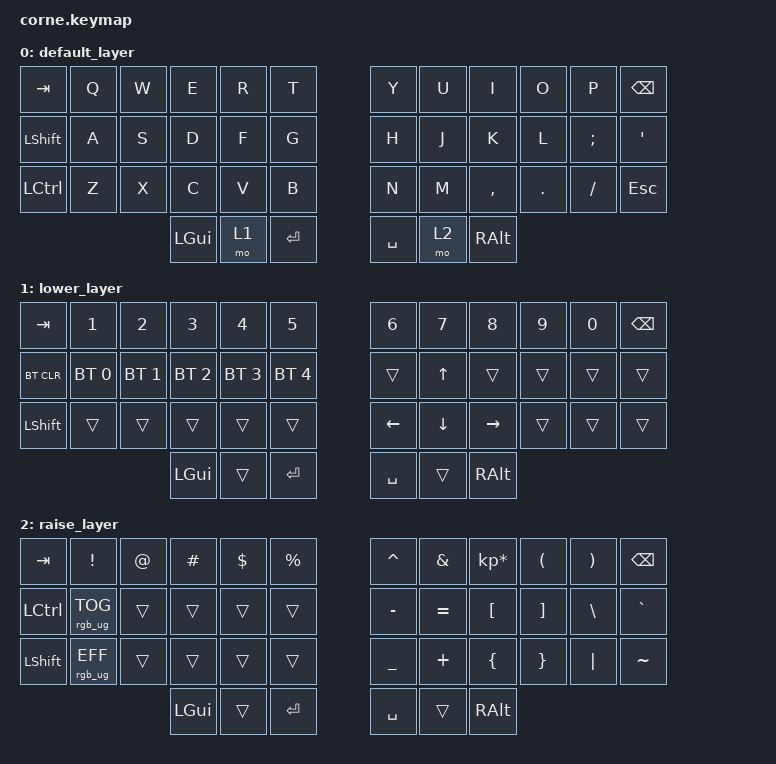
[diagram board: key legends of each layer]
#include <../boards/shields/corne/boards/nice_nano.overlay>
#include <dt-bindings/zmk/rgb.h>
/*
 * Copyright (c) 2020 The ZMK Contributors
 *
 * SPDX-License-Identifier: MIT
 */

#include <behaviors.dtsi>
#include <dt-bindings/zmk/keys.h>
#include <dt-bindings/zmk/bt.h>
#include <dt-bindings/zmk/ext_power.h>
#include <dt-bindings/zmk/rgb.h>

&led_strip {
  chain-length = <27>; // 21 backlight + 6 underglow
};

/ {
        keymap {
                compatible = "zmk,keymap";

                default_layer {
// -----------------------------------------------------------------------------------------
// |  TAB |  Q  |  W  |  E  |  R  |  T  |   |  Y  |  U   |  I  |  O  |  P  | BKSP |
// | SHFT |  A  |  S  |  D  |  F  |  G  |   |  H  |  J   |  K  |  L  |  ;  |  '   |
// | CTRL |  Z  |  X  |  C  |  V  |  B  |   |  N  |  M   |  ,  |  .  |  /  | ESC  |
//                    | GUI | LWR | ENT |   | SPC | RSE  | ALT |
                        bindings = <
   &kp TAB   &kp Q &kp W &kp E &kp R &kp T   &kp Y &kp U  &kp I     &kp O   &kp P    &kp BSPC
   &kp LSHFT &kp A &kp S &kp D &kp F &kp G   &kp H &kp J  &kp K     &kp L   &kp SEMI &kp SQT
   &kp LCTRL &kp Z &kp X &kp C &kp V &kp B   &kp N &kp M  &kp COMMA &kp DOT &kp FSLH &kp ESC
                  &kp LGUI &mo 1 &kp RET     &kp SPACE &mo 2 &kp RALT
                        >;
                };
                lower_layer {
// -----------------------------------------------------------------------------------------
// |  TAB |  1  |  2  |  3  |  4  |  5  |   |  6  |  7  |  8  |  9  |  0  | BKSP |
// | BTCLR| BT1 | BT2 | BT3 | BT4 | BT5 |   |     |  UP |     |     |     |      |
// | SHFT |     |     |     |     |     |   | LFT | DWN | RGT |     |     |      |
//                    | GUI |     | ENT |   | SPC |     | ALT |
                        bindings = <
   &kp TAB    &kp N1       &kp N2       &kp N3       &kp N4       &kp N5         &kp N6   &kp N7   &kp N8 &kp N9 &kp N0 &kp BSPC
   &bt BT_CLR &bt BT_SEL 0 &bt BT_SEL 1 &bt BT_SEL 2 &bt BT_SEL 3 &bt BT_SEL 4   &trans   &kp UP  &trans &trans &trans &trans
   &kp LSHFT  &trans       &trans       &trans       &trans       &trans         &kp LEFT &kp DOWN &kp RIGHT &trans &trans &trans
                          	        &kp LGUI     &trans       &kp RET     &kp SPACE  &trans   &kp RALT
                        >;
                };

                raise_layer {
// -----------------------------------------------------------------------------------------
// |  TAB |  !  |  @  |  #  |  $  |  %  |  |  ^  |  &  |  *  |  (  |  )  | BKSP |
// | CTRL | RGB_TOG |    |    |    |     |   |  -  |  =  |  [  |  ]  |  \  |  `   |
// | SHFT | RGB_EFF |    |    |    |     |   |  _  |  +  |  {  |  }  | "|" |  ~   |
//                    | GUI |     | ENT |   | SPC |     | ALT |
                        bindings = <
   &kp  TAB  &kp EXCL &kp AT &kp HASH &kp DLLR &kp PRCNT   &kp CARET &kp AMPS  &kp KP_MULTIPLY &kp LPAR &kp RPAR &kp BSPC
   &kp LCTRL &rgb_ug RGB_TOG   &trans &trans   &trans   &trans      &kp MINUS &kp EQUAL &kp LBKT        &kp RBKT &kp BSLH &kp GRAVE
   &kp LSHFT &rgb_ug RGB_EFF   &trans  &trans   &trans   &trans      &kp UNDER &kp PLUS  &kp LBRC        &kp RBRC &kp PIPE &kp TILDE
                    	     &kp LGUI &trans   &kp RET     &kp SPACE   &trans    &kp RALT
                        >;
                };
        };
};
